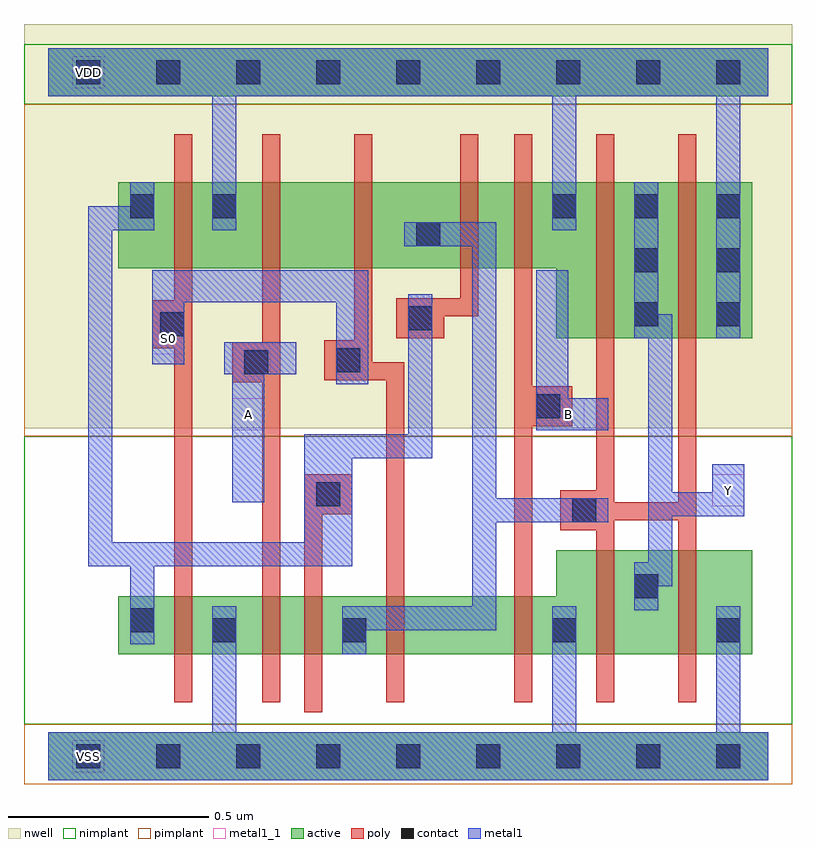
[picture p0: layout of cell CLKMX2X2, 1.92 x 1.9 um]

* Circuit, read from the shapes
.subckt CLKMX2X2 A B S0 VDD VSS Y
M1 VSS S0 n1 VSS nfet w=0.145u l=0.045u
M2 n2 A VSS VSS nfet w=0.145u l=0.045u
M3 n3 n1 n2 VSS nfet w=0.145u l=0.045u
M4 n4 S0 n3 VSS nfet w=0.145u l=0.045u
M5 VSS B n4 VSS nfet w=0.145u l=0.045u
M6 Y n3 VSS VSS nfet w=0.26u l=0.045u m=2
M7 VDD S0 n1 VDD pfet w=0.215u l=0.045u
M8 n5 A VDD VDD pfet w=0.215u l=0.045u
M9 n3 S0 n5 VDD pfet w=0.215u l=0.045u
M10 n6 n1 n3 VDD pfet w=0.215u l=0.045u
M11 VDD B n6 VDD pfet w=0.215u l=0.045u
M12 Y n3 VDD VDD pfet w=0.39u l=0.045u m=2
.ends

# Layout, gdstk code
import gdstk
lib = gdstk.Library(unit=1e-6, precision=5e-10)
def R(c, l, rs):  # rectangles x0, y0, x1, y1
    for r in rs: c.add(gdstk.rectangle(r[:2], r[2:], *l))
def A(c, l, x, y, w, h, nx, ny, dx, dy):  # array of equal rectangles
    R(c, l, [(x+i*dx, y+j*dy, x+i*dx+w, y+j*dy+h) for i in range(nx) for j in range(ny)])
def P(c, l, *ps):  # polygons
    for p in ps: c.add(gdstk.Polygon(p, *l))
active = (1, 0)
nwell = (2, 0)
poly = (3, 0)
nimplant = (4, 0)
pimplant = (5, 0)
contact = (6, 0)
metal1 = (7, 0)
metal1_1 = (7, 1)

clkmx2x2 = lib.new_cell('CLKMX2X2')
R(clkmx2x2, active, [(0,-0.06,1.8,0.06), (0,1.65,1.8,1.77)])
P(clkmx2x2, active, [(0.175,1.435),(1.76,1.435),(1.76,1.045),(1.27,1.045),(1.27,1.22),(0.175,1.22)],
  [(1.27,0.515),(1.76,0.515),(1.76,0.255),(0.175,0.255),(0.175,0.4),(1.27,0.4)])
R(clkmx2x2, nwell, [(-0.06,0.82,1.86,1.83)])
P(clkmx2x2, poly, [(0.315,1.555),(0.36,1.555),(0.36,0.135),(0.315,0.135),(0.315,1.02),(0.26,1.02),(0.26,1.14),(0.315,1.14)],
  [(0.535,1.555),(0.58,1.555),(0.58,0.135),(0.535,0.135),(0.535,0.935),(0.46,0.935),(0.46,1.035),(0.535,1.035)],
  [(0.765,1.555),(0.81,1.555),(0.81,0.985),(0.89,0.985),(0.89,0.135),(0.845,0.135),(0.845,0.94),(0.69,0.94),(0.69,1.04),(0.765,1.04)],
  [(1.03,1.555),(1.075,1.555),(1.075,1.1),(0.99,1.1),(0.99,1.045),(0.87,1.045),(0.87,1.145),(1.03,1.145)],
  [(1.165,1.555),(1.21,1.555),(1.21,0.925),(1.31,0.925),(1.31,0.825),(1.21,0.825),(1.21,0.135),(1.165,0.135)],
  [(1.37,1.555),(1.415,1.555),(1.415,0.635),(1.575,0.635),(1.575,1.555),(1.62,1.555),(1.62,0.135),(1.575,0.135),(1.575,0.59),(1.415,0.59),(1.415,0.135),(1.37,0.135),(1.37,0.565),(1.28,0.565),(1.28,0.665),(1.37,0.665)],
  [(0.64,0.705),(0.76,0.705),(0.76,0.605),(0.685,0.605),(0.685,0.11),(0.64,0.11)])
R(clkmx2x2, nimplant, [(-0.06,0.08,1.86,0.8), (-0.06,1.63,1.86,1.78)])
R(clkmx2x2, pimplant, [(-0.06,-0.07,1.86,0.08), (-0.06,0.8,1.86,1.63)])
A(clkmx2x2, contact, 0.07, -0.03, 0.06, 0.06, 9, 2, 0.2, 1.71)
A(clkmx2x2, contact, 1.26, 1.345, 0.06, 0.06, 3, 1, 0.205, 0)
R(clkmx2x2, contact, [(0.41,0.285,0.47,0.345), (0.735,0.285,0.795,0.345), (1.26,0.285,1.32,0.345), (1.67,0.285,1.73,0.345), (0.205,0.31,0.265,0.37), (1.465,0.395,1.525,0.455), (1.31,0.585,1.37,0.645), (0.67,0.625,0.73,0.685), (1.22,0.845,1.28,0.905), (0.49,0.955,0.55,1.015), (0.72,0.96,0.78,1.02), (0.28,1.05,0.34,1.11), (0.9,1.065,0.96,1.125), (1.465,1.075,1.525,1.135), (1.67,1.075,1.73,1.135), (1.465,1.21,1.525,1.27), (1.67,1.21,1.73,1.27), (0.92,1.275,0.98,1.335), (0.205,1.345,0.265,1.405), (0.41,1.345,0.47,1.405)])
P(clkmx2x2, metal1, [(0,1.77),(1.8,1.77),(1.8,1.65),(1.73,1.65),(1.73,1.045),(1.67,1.045),(1.67,1.65),(1.32,1.65),(1.32,1.315),(1.26,1.315),(1.26,1.65),(0.47,1.65),(0.47,1.315),(0.41,1.315),(0.41,1.65),(0,1.65)],
  [(0.205,1.435),(0.265,1.435),(0.265,1.315),(0.16,1.315),(0.16,0.535),(0.64,0.535),(0.64,0.805),(0.9,0.805),(0.9,1.155),(0.96,1.155),(0.96,0.745),(0.76,0.745),(0.76,0.475),(0.265,0.475),(0.265,0.28),(0.205,0.28),(0.205,0.475),(0.1,0.475),(0.1,1.375),(0.205,1.375)],
  [(0.89,1.335),(1.12,1.335),(1.12,0.645),(1.4,0.645),(1.4,0.585),(1.12,0.585),(1.12,0.315),(0.795,0.315),(0.795,0.255),(0.735,0.255),(0.735,0.375),(1.06,0.375),(1.06,1.275),(0.89,1.275)],
  [(0.26,1.215),(0.8,1.215),(0.8,0.93),(0.72,0.93),(0.72,1.135),(0.34,1.135),(0.34,0.98),(0.26,0.98)],
  [(0.44,1.035),(0.62,1.035),(0.62,0.955),(0.54,0.955),(0.54,0.635),(0.46,0.635),(0.46,0.955),(0.44,0.955)],
  [(1.465,1.435),(1.525,1.435),(1.525,1.105),(1.56,1.105),(1.56,0.66),(1.66,0.66),(1.66,0.73),(1.74,0.73),(1.74,0.6),(1.56,0.6),(1.56,0.425),(1.525,0.425),(1.525,0.365),(1.465,0.365),(1.465,0.485),(1.5,0.485),(1.5,1.045),(1.465,1.045)],
  [(1.22,1.215),(1.3,1.215),(1.3,0.895),(1.4,0.895),(1.4,0.815),(1.22,0.815)],
  [(0.41,0.375),(0.47,0.375),(0.47,0.06),(1.26,0.06),(1.26,0.375),(1.32,0.375),(1.32,0.06),(1.67,0.06),(1.67,0.375),(1.73,0.375),(1.73,0.06),(1.8,0.06),(1.8,-0.06),(0,-0.06),(0,0.06),(0.41,0.06)])
R(clkmx2x2, metal1_1, [(0.06,-0.04,0.14,0.04), (1.66,0.625,1.74,0.705), (0.46,0.815,0.54,0.895), (1.26,0.815,1.34,0.895), (0.26,1.005,0.34,1.085), (0.06,1.67,0.14,1.75)])
clkmx2x2.add(gdstk.Label('Y', (1.7,0.665), layer=7, texttype=1))
clkmx2x2.add(gdstk.Label('B', (1.3,0.855), layer=7, texttype=1))
clkmx2x2.add(gdstk.Label('A', (0.5,0.855), layer=7, texttype=1))
clkmx2x2.add(gdstk.Label('S0', (0.3,1.045), layer=7, texttype=1))
clkmx2x2.add(gdstk.Label('VDD', (0.1,1.71), layer=7, texttype=1))
clkmx2x2.add(gdstk.Label('VSS', (0.1,0), layer=7, texttype=1))
clkmx2x2.add(gdstk.Label('CLKMX2X2', (0,0), layer=63, texttype=0))

lib.write_gds('CLKMX2X2.gds')
